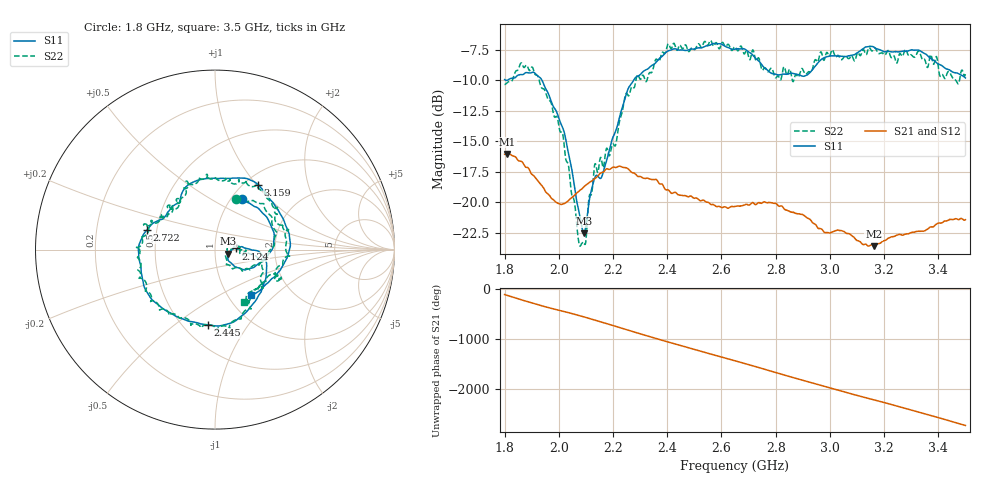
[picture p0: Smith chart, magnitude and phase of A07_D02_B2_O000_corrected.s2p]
! Created with skrf 1.9.0 (http://scikit-rf.org).
# Hz S RI R 50.0
!freq ReS11 ImS11 ReS21 ImS21 ReS12 ImS12 ReS22 ImS22
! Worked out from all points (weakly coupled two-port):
!   1601 points, 1.8 GHz to 3.5 GHz, reference 50 ohm
!   highest |S21| = -16.04 dB at 1.81 GHz (marker M1); lowest = -23.6 dB at 3.162 GHz (marker M2)
!   lowest |S11| = -22.6 dB at 2.093 GHz (marker M3), VSWR 1.16, Z = 57.6 - j2.61 ohm
!   |S11| at or under -10 dB: 1.807131 GHz to 1.807481 GHz (349.8 kHz wide, 0.0194 % of centre); 1.938 GHz to 2.276 GHz (337.6 MHz wide, 16 % of centre)
!   |S22| runs from -23.6 to -6.7 dB; largest |S21 - S12| = 0.0026
!   S11 on the Smith chart (normalised r, x): 1.8 GHz: 1.12, +0.70; 2.124 GHz: 1.26, +0.02; 2.445 GHz: 0.65, -0.67; 2.722 GHz: 0.44, +0.12; 3.159 GHz: 1.14, +1.02; 3.5 GHz: 1.27, -0.72
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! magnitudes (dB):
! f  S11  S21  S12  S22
! 1.8 GHz  -9.9  -16.1  -16.1  -10.3
! 1.81 GHz  -10.0  -16.0  -16.0  -10.2
! 1.901 GHz  -9.4  -17.7  -17.6  -8.9
! 1.968 GHz  -11.5  -19.5  -19.6  -11.7
! 2.021 GHz  -14.4  -20.1  -20.1  -15.6
! 2.084 GHz  -21.9  -18.9  -18.9  -23.4
! 2.093 GHz  -22.6  -18.7  -18.8  -23.4
! 2.124 GHz  -18.7  -18.2  -18.2  -18.8
! 2.16 GHz  -17.8  -17.6  -17.5  -16.9
! 2.209 GHz  -14.2  -17.2  -17.1  -15.3
! 2.259 GHz  -10.5  -17.3  -17.3  -11.2
! 2.367 GHz  -8.3  -18.4  -18.3  -8.4
! 2.445 GHz  -7.5  -19.4  -19.4  -7.1
! 2.65 GHz  -7.4  -20.3  -20.3  -7.2
! 2.722 GHz  -8.1  -20.2  -20.1  -8.0
! 2.812 GHz  -9.5  -20.3  -20.2  -9.7
! 2.934 GHz  -9.2  -21.6  -21.6  -9.2
! 3.159 GHz  -7.2  -23.6  -23.5  -7.5
! 3.162 GHz  -7.3  -23.6  -23.6  -7.4
! 3.217 GHz  -7.6  -22.9  -22.9  -7.6
! 3.328 GHz  -7.5  -22.4  -22.4  -7.6
! 3.5 GHz  -9.8  -21.4  -21.4  -9.5
